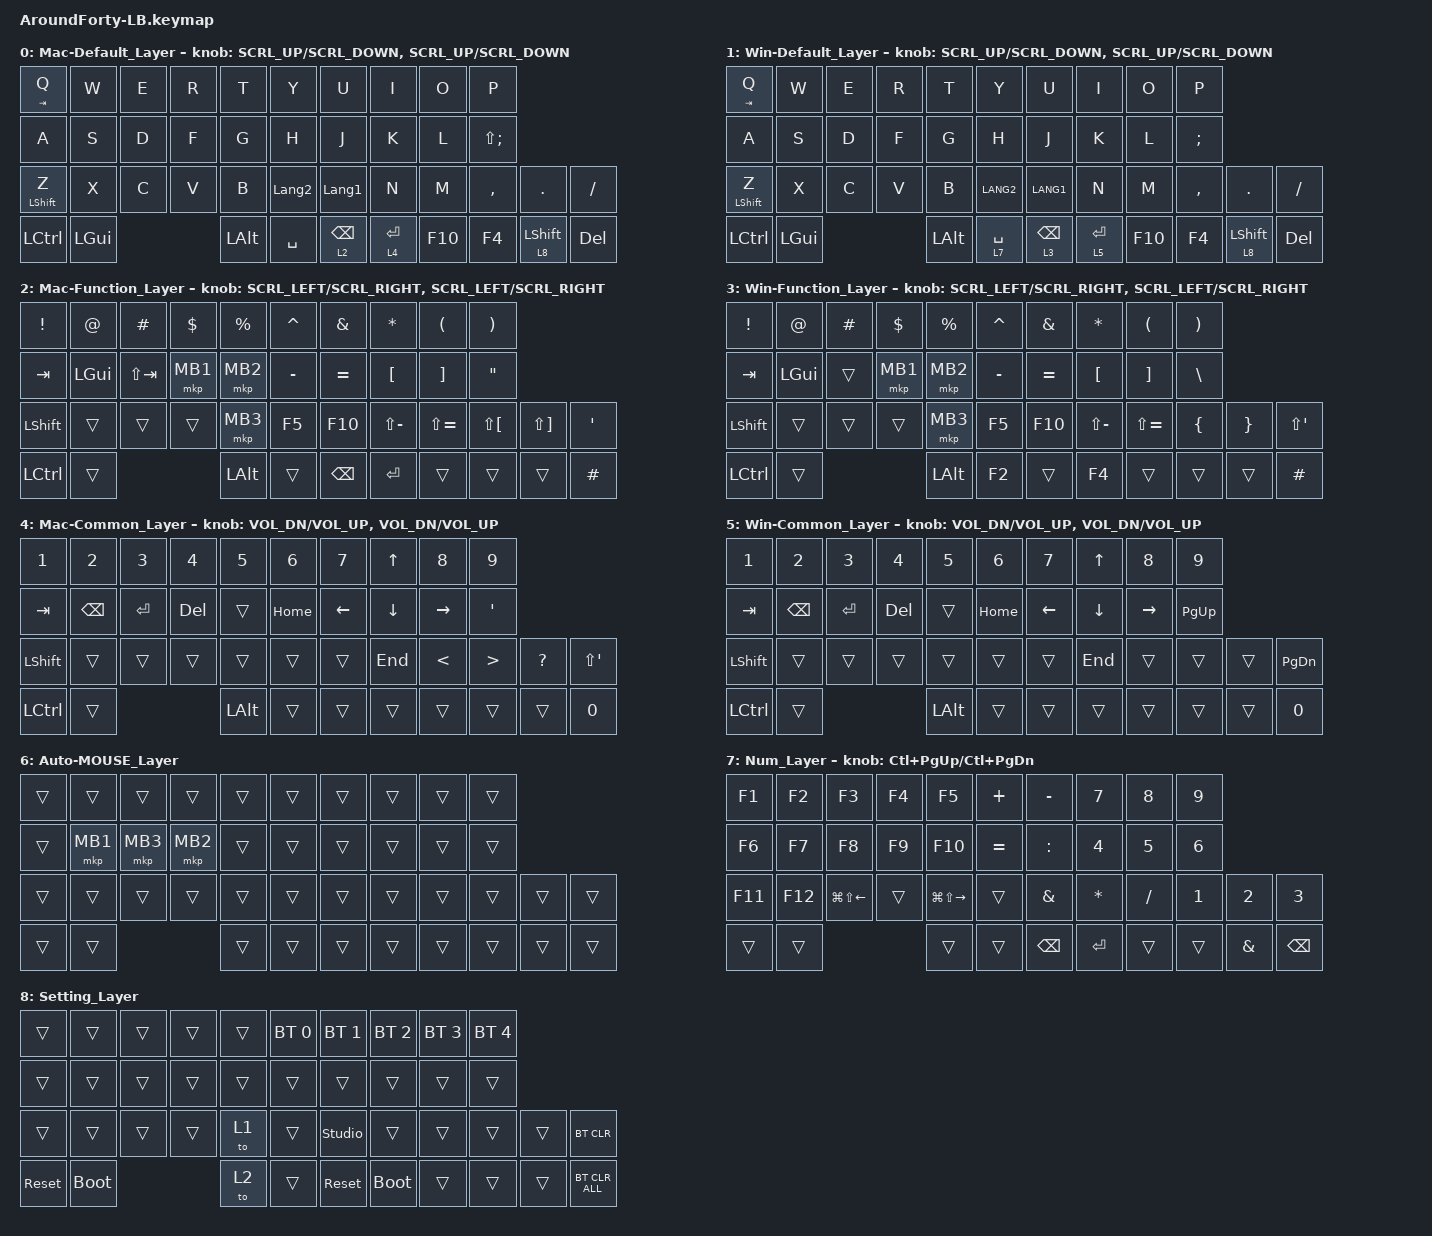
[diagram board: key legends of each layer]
#include <behaviors.dtsi>
#include <dt-bindings/zmk/bt.h>
#include <dt-bindings/zmk/keys.h>
#include <dt-bindings/zmk/pointing.h>

#undef ZMK_POINTING_DEFAULT_SCRL_VAL

#define ZMK_POINTING_DEFAULT_SCRL_VAL 100
#define MOUSE 6

&mt {
    flavor = "balanced";
    quick-tap-ms = <0>;
};

/ {
    //コンボ設定

    combos {
        compatible = "zmk,combos";

        tab {
            bindings = <&kp TAB>;
            key-positions = <11 12>;
        };

        shift_tab {
            bindings = <&kp LS(TAB)>;
            key-positions = <12 13>;
        };

        muhennkann {
            bindings = <&to_layer_0 INT_MUHENKAN>;
            key-positions = <11 10>;
        };

        double_quotation {
            bindings = <&kp DOUBLE_QUOTES>;
            key-positions = <20 21>;
        };

        eq {
            bindings = <&kp EQUAL>;
            key-positions = <24 25>;
        };
    };

    //マクロ(既存のキーの組み合わせ)

    macros {
        to_layer_0: to_layer_0 {
            compatible = "zmk,behavior-macro-one-param";
            #binding-cells = <1>;
            bindings = <&to 1 &macro_param_1to1 &kp MACRO_PLACEHOLDER>;
            label = "TO_LAYER_0";
        };
    };

    //新たな動作を定義する

    behaviors {
        lt_to_layer_0: lt_to_layer_0 {
            compatible = "zmk,behavior-hold-tap";
            label = "LAYER_TAP_TO_0";
            bindings = <&mo>, <&to_layer_0>;

            #binding-cells = <2>;
            tapping-term-ms = <200>;
        };

        mouse_scroll: mouse_wheel_scrl {
            compatible = "zmk,behavior-sensor-rotate-var";
            #sensor-binding-cells = <2>;
            bindings = <&msc>, <&msc>;

            tap-ms = <20>;
        };
    };

    //キーマップ設定

    keymap {
        compatible = "zmk,keymap";

        Mac-Default_Layer {
            bindings = <
&mt TAB Q         &kp W         &kp E  &kp R  &kp T           &kp Y           &kp U            &kp I        &kp O    &kp P
&kp A             &kp S         &kp D  &kp F  &kp G           &kp H           &kp J            &kp K        &kp L    &kp LS(SEMI)
&mt LEFT_SHIFT Z  &kp X         &kp C  &kp V  &kp B           &kp LANGUAGE_2  &kp LANGUAGE_1   &kp N        &kp M    &kp COMMA     &kp PERIOD        &kp SLASH
&kp LCTRL         &kp LEFT_GUI                &kp LEFT_ALT    &kp SPACE       &lt 2 BACKSPACE  &lt 4 ENTER  &kp F10  &kp F4        &lt 8 LEFT_SHIFT  &kp DEL
            >;

            sensor-bindings =
                <&mouse_scroll SCRL_UP SCRL_DOWN>,
                <&mouse_scroll SCRL_UP SCRL_DOWN>;
        };

        Win-Default_Layer {
            bindings = <
&mt TAB Q         &kp W         &kp E  &kp R  &kp T           &kp Y        &kp U            &kp I        &kp O    &kp P
&kp A             &kp S         &kp D  &kp F  &kp G           &kp H        &kp J            &kp K        &kp L    &kp SEMI
&mt LEFT_SHIFT Z  &kp X         &kp C  &kp V  &kp B           &kp LANG2    &kp LANG1        &kp N        &kp M    &kp COMMA  &kp PERIOD        &kp SLASH
&kp LCTRL         &kp LEFT_GUI                &kp LEFT_ALT    &lt 7 SPACE  &lt 3 BACKSPACE  &lt 5 ENTER  &kp F10  &kp F4     &lt 8 LEFT_SHIFT  &kp DEL
            >;

            sensor-bindings =
                <&mouse_scroll SCRL_UP SCRL_DOWN>,
                <&mouse_scroll SCRL_UP SCRL_DOWN>;
        };

        Mac-Function_Layer {
            bindings = <
&kp EXCL        &kp AT        &kp HASH     &kp DLLR  &kp PERCENT    &kp CARET  &kp AMPERSAND  &kp ASTRK         &kp LEFT_PARENTHESIS  &kp RIGHT_PARENTHESIS
&kp TAB         &kp LEFT_GUI  &kp LS(TAB)  &mkp MB1  &mkp MB2       &kp MINUS  &kp EQUAL      &kp LEFT_BRACKET  &kp RIGHT_BRACKET     &kp DOUBLE_QUOTES
&kp LEFT_SHIFT  &trans        &trans       &trans    &mkp MB3       &kp F5     &kp F10        &kp LS(MINUS)     &kp LS(EQUAL)         &kp LS(LEFT_BRACKET)   &kp LS(RIGHT_BRACKET)  &kp SINGLE_QUOTE
&kp LCTRL       &trans                               &kp LALT       &trans     &kp BACKSPACE  &kp ENTER         &trans                &trans                 &trans                 &kp HASH
            >;

            sensor-bindings =
                <&mouse_scroll SCRL_LEFT SCRL_RIGHT>,
                <&mouse_scroll SCRL_LEFT SCRL_RIGHT>;
        };

        Win-Function_Layer {
            bindings = <
&kp EXCL        &kp AT        &kp HASH  &kp DOLLAR  &kp PERCENT    &kp CARET  &kp AMPERSAND  &kp ASTRK         &kp LEFT_PARENTHESIS  &kp RIGHT_PARENTHESIS
&kp TAB         &kp LEFT_GUI  &trans    &mkp MB1    &mkp MB2       &kp MINUS  &kp EQUAL      &kp LEFT_BRACKET  &kp RIGHT_BRACKET     &kp BACKSLASH
&kp LEFT_SHIFT  &trans        &trans    &trans      &mkp MB3       &kp F5     &kp F10        &kp LS(MINUS)     &kp LS(EQUAL)         &kp LEFT_BRACE         &kp RIGHT_BRACE  &kp LS(SINGLE_QUOTE)
&kp LCTRL       &trans                              &kp LALT       &kp F2     &trans         &kp F4            &trans                &trans                 &trans           &kp HASH
            >;

            sensor-bindings =
                <&mouse_scroll SCRL_LEFT SCRL_RIGHT>,
                <&mouse_scroll SCRL_LEFT SCRL_RIGHT>;
        };

        Mac-Common_Layer {
            bindings = <
&kp NUMBER_1    &kp NUMBER_2   &kp NUMBER_3  &kp NUMBER_4  &kp NUMBER_5    &kp NUMBER_6  &kp NUMBER_7    &kp UP          &kp NUMBER_8   &kp NUMBER_9
&kp TAB         &kp BACKSPACE  &kp ENTER     &kp DEL       &trans          &kp HOME      &kp LEFT_ARROW  &kp DOWN_ARROW  &kp RIGHT      &kp SINGLE_QUOTE
&kp LEFT_SHIFT  &trans         &trans        &trans        &trans          &trans        &trans          &kp END         &kp LESS_THAN  &kp GREATER_THAN  &kp QUESTION  &kp LS(SINGLE_QUOTE)
&kp LCTRL       &trans                                     &kp LEFT_ALT    &trans        &trans          &trans          &trans         &trans            &trans        &kp NUMBER_0
            >;

            sensor-bindings =
                <&inc_dec_kp C_VOL_DN C_VOL_UP>,
                <&inc_dec_kp C_VOL_DN C_VOL_UP>;
        };

        Win-Common_Layer {
            bindings = <
&kp NUMBER_1    &kp NUMBER_2   &kp NUMBER_3  &kp NUMBER_4  &kp NUMBER_5    &kp NUMBER_6  &kp NUMBER_7    &kp UP_ARROW    &kp NUMBER_8     &kp NUMBER_9
&kp TAB         &kp BACKSPACE  &kp ENTER     &kp DELETE    &trans          &kp HOME      &kp LEFT_ARROW  &kp DOWN_ARROW  &kp RIGHT_ARROW  &kp PAGE_UP
&kp LEFT_SHIFT  &trans         &trans        &trans        &trans          &trans        &trans          &kp END         &trans           &trans        &trans  &kp PAGE_DOWN
&kp LCTRL       &trans                                     &kp LALT        &trans        &trans          &trans          &trans           &trans        &trans  &kp NUMBER_0
            >;

            sensor-bindings =
                <&inc_dec_kp C_VOL_DN C_VOL_UP>,
                <&inc_dec_kp C_VOL_DN C_VOL_UP>;
        };

        Auto-MOUSE_Layer {
            bindings = <
&trans  &trans    &trans    &trans    &trans    &trans  &trans  &trans  &trans  &trans
&trans  &mkp MB1  &mkp MB3  &mkp MB2  &trans    &trans  &trans  &trans  &trans  &trans
&trans  &trans    &trans    &trans    &trans    &trans  &trans  &trans  &trans  &trans  &trans  &trans
&trans  &trans                        &trans    &trans  &trans  &trans  &trans  &trans  &trans  &trans
            >;
        };

        Num_Layer {
            bindings = <
&kp F1   &kp F2   &kp F3                  &kp F4  &kp F5                     &kp PLUS   &kp MINUS      &kp N7        &kp N8     &kp N9
&kp F6   &kp F7   &kp F8                  &kp F9  &kp F10                    &kp EQUAL  &kp COLON      &kp N4        &kp N5     &kp N6
&kp F11  &kp F12  &kp LG(LS(LEFT_ARROW))  &trans  &kp LG(LS(RIGHT_ARROW))    &trans     &kp AMPERSAND  &kp ASTERISK  &kp SLASH  &kp N1  &kp N2         &kp N3
&trans   &trans                                   &trans                     &trans     &kp BACKSPACE  &kp RET       &trans     &trans  &kp AMPERSAND  &kp BSPC
            >;

            sensor-bindings = <&inc_dec_kp LC(PAGE_UP) LC(PAGE_DOWN)>;
        };

        Setting_Layer {
            bindings = <
&trans      &trans       &trans  &trans  &trans    &bt BT_SEL 0  &bt BT_SEL 1    &bt BT_SEL 2  &bt BT_SEL 3  &bt BT_SEL 4
&trans      &trans       &trans  &trans  &trans    &trans        &trans          &trans        &trans        &trans
&trans      &trans       &trans  &trans  &to 1     &trans        &studio_unlock  &trans        &trans        &trans        &trans  &bt BT_CLR
&sys_reset  &bootloader                  &to 2     &trans        &sys_reset      &bootloader   &trans        &trans        &trans  &bt BT_CLR_ALL
            >;
        };
    };
};
